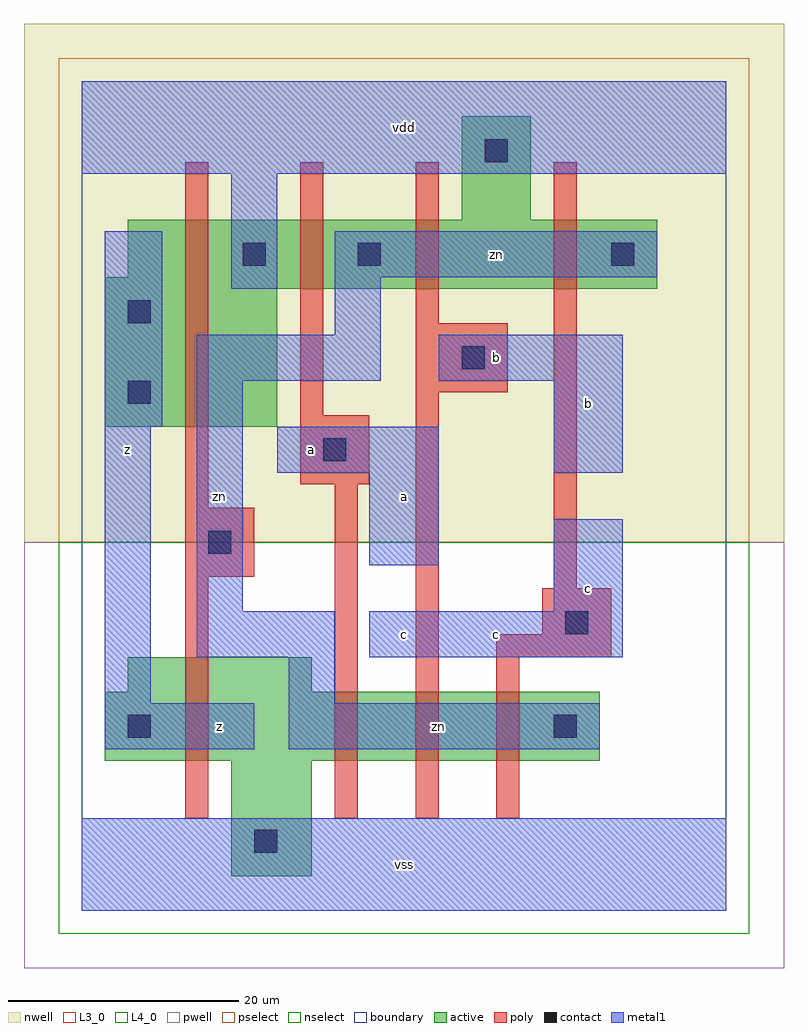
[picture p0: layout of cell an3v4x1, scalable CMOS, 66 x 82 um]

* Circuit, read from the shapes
.subckt an3v4x1 a b c vdd vss z zn
M1 vss zn z VSUBS nfet w=9u l=2u
M2 n1 a vss VSUBS nfet w=6u l=2u
M3 n2 b n1 VSUBS nfet w=6u l=2u
M4 zn c n2 VSUBS nfet w=6u l=2u
M5 vdd zn z n3 pfet w=18u l=2u
M6 zn a vdd n3 pfet w=6u l=2u
M7 vdd b zn n3 pfet w=6u l=2u
M8 zn c vdd n3 pfet w=6u l=2u
.ends

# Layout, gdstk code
import gdstk
lib = gdstk.Library(unit=1e-6, precision=1e-09)
def R(c, l, rs):  # rectangles x0, y0, x1, y1
    for r in rs: c.add(gdstk.rectangle(r[:2], r[2:], *l))
L3_0 = (3, 0)
L4_0 = (4, 0)
contact = (25, 0)
pwell = (41, 0)
nwell = (42, 0)
active = (43, 0)
pselect = (44, 0)
nselect = (45, 0)
poly = (46, 0)
metal1 = (49, 0)
boundary = (63, 0)

an3v4x1 = lib.new_cell('an3v4x1')
R(an3v4x1, L3_0, [(13,3,20,13), (2,13,45,19), (4,19,20,22)])
R(an3v4x1, L4_0, [(2,42,17,54), (2,54,50,55), (4,55,50,60), (33,60,39,69)])
R(an3v4x1, contact, [(15,5,17,7), (4,15,6,17), (41,15,43,17), (42,24,44,26), (11,31,13,33), (21,39,23,41), (4,44,6,46), (33,47,35,49), (4,51,6,53), (14,56,16,58), (24,56,26,58), (46,56,48,58), (35,65,37,67)])
R(an3v4x1, pwell, [(-5,-5,61,32)])
R(an3v4x1, nwell, [(-5,32,61,77)])
R(an3v4x1, active, [(13,3,20,13), (2,13,45,19), (4,19,20,22), (2,42,17,54), (2,54,50,55), (4,55,50,60), (33,60,39,69)])
R(an3v4x1, pselect, [(-2,32,58,74)])
R(an3v4x1, nselect, [(-2,-2,58,32)])
R(an3v4x1, poly, [(9,8,11,29), (22,8,24,37), (29,8,31,45), (36,8,38,22), (36,22,46,24), (40,24,46,28), (41,28,43,65), (9,29,15,35), (9,35,11,65), (19,37,25,43), (19,43,21,65), (29,45,37,51), (29,51,31,65)])
R(an3v4x1, metal1, [(0,0,56,8), (2,14,15,18), (18,14,45,18), (2,18,6,42), (18,18,22,22), (10,22,22,26), (25,22,47,26), (10,26,14,46), (41,26,47,34), (25,30,31,38), (17,38,31,42), (41,38,47,46), (2,42,7,59), (10,46,26,50), (31,46,47,50), (22,50,26,55), (13,54,17,64), (22,55,50,59), (0,64,56,72)])
R(an3v4x1, boundary, [(0,0,56,72)])
an3v4x1.add(gdstk.Label('zn', (12,36), layer=49, texttype=0))
an3v4x1.add(gdstk.Label('zn', (31,16), layer=49, texttype=0))
an3v4x1.add(gdstk.Label('zn', (36,57), layer=49, texttype=0))
an3v4x1.add(gdstk.Label('z', (4,40), layer=49, texttype=0))
an3v4x1.add(gdstk.Label('z', (12,16), layer=49, texttype=0))
an3v4x1.add(gdstk.Label('a', (20,40), layer=49, texttype=0))
an3v4x1.add(gdstk.Label('vss', (28,4), layer=49, texttype=0))
an3v4x1.add(gdstk.Label('c', (28,24), layer=49, texttype=0))
an3v4x1.add(gdstk.Label('c', (36,24), layer=49, texttype=0))
an3v4x1.add(gdstk.Label('a', (28,36), layer=49, texttype=0))
an3v4x1.add(gdstk.Label('b', (36,48), layer=49, texttype=0))
an3v4x1.add(gdstk.Label('vdd', (28,68), layer=49, texttype=0))
an3v4x1.add(gdstk.Label('c', (44,28), layer=49, texttype=0))
an3v4x1.add(gdstk.Label('b', (44,44), layer=49, texttype=0))

lib.write_gds('an3v4x1.gds')
